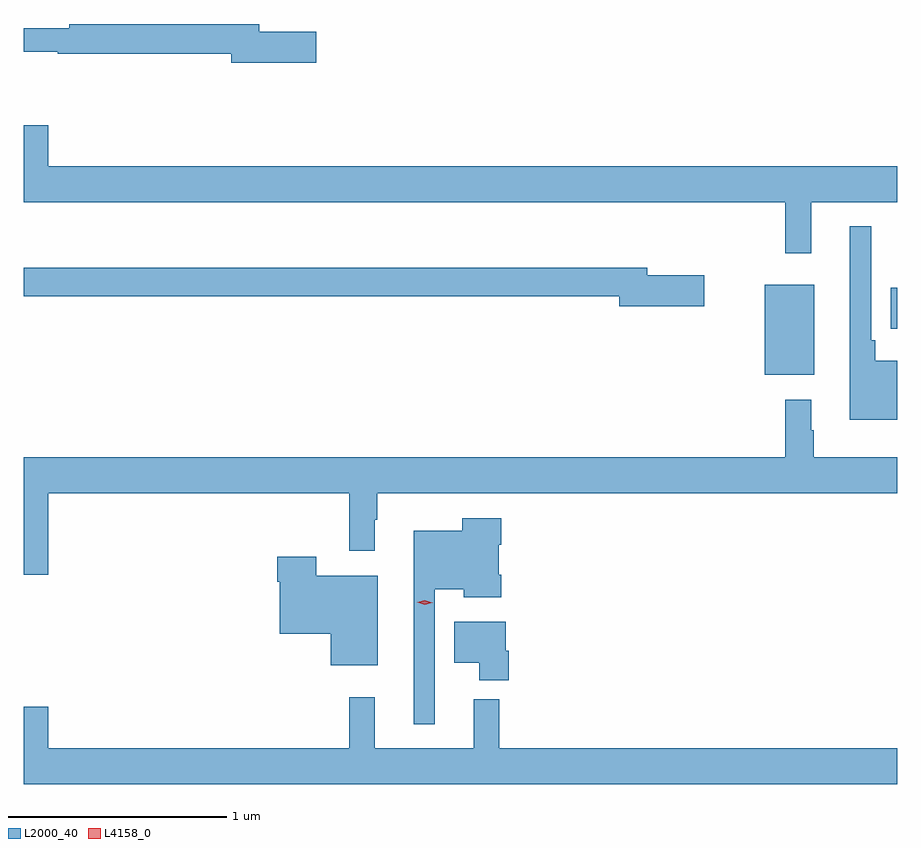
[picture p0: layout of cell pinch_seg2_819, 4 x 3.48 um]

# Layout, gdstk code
import gdstk
lib = gdstk.Library(unit=1e-6, precision=1e-09)
def R(c, l, rs):  # rectangles x0, y0, x1, y1
    for r in rs: c.add(gdstk.rectangle(r[:2], r[2:], *l))
def P(c, l, *ps):  # polygons
    for p in ps: c.add(gdstk.Polygon(p, *l))
L2000_40 = (2000, 40)
L4158_0 = (4158, 0)

pinch_seg2_819 = lib.new_cell('pinch_seg2_819')
R(pinch_seg2_819, L2000_40, [(851.768,610.883,851.995,611.293), (852.344,611.093,852.375,611.281)])
P(pinch_seg2_819, L2000_40, [(849.715,612.452),(849.454,612.452),(849.454,612.488),(848.584,612.488),(848.584,612.469),(848.375,612.469),(848.375,612.36),(848.53,612.36),(848.53,612.352),(849.326,612.352),(849.326,612.31),(849.715,612.31)],
  [(851.981,611.672),(852.375,611.672),(852.375,611.836),(848.488,611.836),(848.488,612.025),(848.375,612.025),(848.375,611.672),(851.863,611.672),(851.863,611.439),(851.981,611.439)],
  [(852.375,610.945),(852.275,610.945),(852.275,611.041),(852.255,611.041),(852.255,611.563),(852.158,611.563),(852.158,610.676),(852.375,610.676)],
  [(851.491,611.337),(851.23,611.337),(851.23,611.371),(848.375,611.371),(848.375,611.242),(851.102,611.242),(851.102,611.195),(851.491,611.195)],
  [(848.488,610.34),(849.865,610.34),(849.865,610.077),(849.982,610.077),(849.982,610.217),(849.994,610.217),(849.994,610.34),(852.375,610.34),(852.375,610.504),(851.992,610.504),(851.992,610.628),(851.98,610.628),(851.98,610.768),(851.863,610.768),(851.863,610.504),(848.375,610.504),(848.375,609.966),(848.488,609.966)],
  [(850.257,609.899),(850.391,609.899),(850.391,609.863),(850.562,609.863),(850.562,609.967),(850.549,609.967),(850.549,610.103),(850.562,610.103),(850.562,610.225),(850.384,610.225),(850.384,610.168),(850.16,610.168),(850.16,609.282),(850.257,609.282)],
  [(849.997,609.961),(849.714,609.961),(849.714,610.048),(849.536,610.048),(849.536,609.935),(849.548,609.935),(849.548,609.695),(849.782,609.695),(849.782,609.551),(849.997,609.551)],
  [(850.595,609.618),(850.582,609.618),(850.582,609.751),(850.346,609.751),(850.346,609.563),(850.46,609.563),(850.46,609.482),(850.595,609.482)],
  [(852.375,609.172),(850.553,609.172),(850.553,609.397),(850.436,609.397),(850.436,609.172),(849.983,609.172),(849.983,609.406),(849.865,609.406),(849.865,609.172),(848.488,609.172),(848.488,609.361),(848.375,609.361),(848.375,609.008),(852.375,609.008)])
P(pinch_seg2_819, L4158_0, [(850.211,609.829),(850.176,609.84),(850.175,609.84),(850.176,609.84),(850.211,609.849),(850.246,609.837),(850.247,609.837),(850.246,609.837)])

lib.write_gds('pinch_seg2_819.gds')
